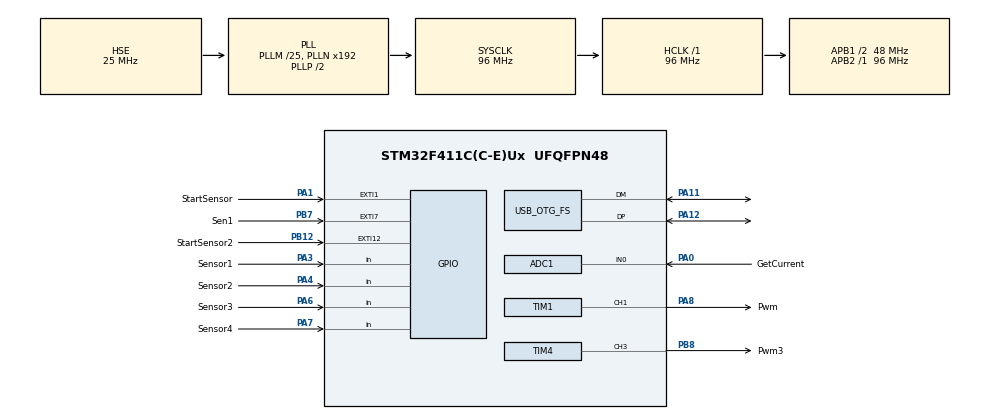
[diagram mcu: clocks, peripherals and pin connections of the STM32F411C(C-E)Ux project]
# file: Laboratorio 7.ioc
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ADC1.Channel-0\#ChannelRegularConversion=ADC_CHANNEL_0
ADC1.NbrOfConversionFlag=1
ADC1.Rank-0\#ChannelRegularConversion=1
ADC1.SamplingTime-0\#ChannelRegularConversion=ADC_SAMPLETIME_3CYCLES
ADC1.master=1
Mcu.Family=STM32F4
Mcu.Name=STM32F411C(C-E)Ux
Mcu.Package=UFQFPN48
NVIC.EXTI15_10_IRQn=true\:0\:0\:false\:false\:true\:true\:true\:true
NVIC.EXTI1_IRQn=true\:0\:0\:false\:false\:true\:true\:true\:true
NVIC.EXTI9_5_IRQn=true\:0\:0\:false\:false\:true\:true\:true\:true
NVIC.OTG_FS_IRQn=true\:0\:0\:false\:false\:true\:false\:true\:true
NVIC.PVD_IRQn=true\:0\:0\:false\:false\:true\:true\:true\:true
NVIC.PriorityGroup=NVIC_PRIORITYGROUP_4
PA0-WKUP.GPIO_Label=GetCurrent
PA0-WKUP.Signal=ADCx_IN0
PA1.GPIO_Label=StartSensor
PA1.GPIO_PuPd=GPIO_PULLDOWN
PA1.Signal=GPXTI1
PA11.Mode=Device_Only
PA11.Signal=USB_OTG_FS_DM
PA12.Mode=Device_Only
PA12.Signal=USB_OTG_FS_DP
PA13.Mode=Serial_Wire
PA13.Signal=SYS_JTMS-SWDIO
PA14.Mode=Serial_Wire
PA14.Signal=SYS_JTCK-SWCLK
PA3.GPIO_Label=Sensor1
PA3.GPIO_PuPd=GPIO_PULLDOWN
PA3.Signal=GPIO_Input
PA4.GPIO_Label=Sensor2
PA4.GPIO_PuPd=GPIO_PULLDOWN
PA4.Signal=GPIO_Input
PA6.GPIO_Label=Sensor3
PA6.GPIO_PuPd=GPIO_PULLDOWN
PA6.Signal=GPIO_Input
PA7.GPIO_Label=Sensor4
PA7.GPIO_PuPd=GPIO_PULLDOWN
PA7.Signal=GPIO_Input
PA8.GPIO_Label=Pwm
PA8.Signal=S_TIM1_CH1
PB12.GPIO_Label=StartSensor2
PB12.GPIO_PuPd=GPIO_PULLDOWN
PB12.Signal=GPXTI12
PB7.GPIO_Label=Sen1
PB7.GPIO_PuPd=GPIO_PULLDOWN
PB7.Signal=GPXTI7
PB8.GPIO_Label=Pwm3
PB8.Signal=S_TIM4_CH3
PH0\ -\ OSC_IN.Mode=HSE-External-Oscillator
PH0\ -\ OSC_IN.Signal=RCC_OSC_IN
PH1\ -\ OSC_OUT.Mode=HSE-External-Oscillator
PH1\ -\ OSC_OUT.Signal=RCC_OSC_OUT
ProjectManager.HeapSize=0x200
ProjectManager.StackSize=0x400
ProjectManager.TargetToolchain=STM32CubeIDE
RCC.48MHZClocksFreq_Value=48000000
RCC.AHBFreq_Value=96000000
RCC.APB1CLKDivider=RCC_HCLK_DIV2
RCC.APB1Freq_Value=48000000
RCC.APB1TimFreq_Value=96000000
RCC.APB2Freq_Value=96000000
RCC.APB2TimFreq_Value=96000000
RCC.CortexFreq_Value=96000000
RCC.HCLKFreq_Value=96000000
RCC.HSE_VALUE=25000000
RCC.HSI_VALUE=16000000
RCC.LSE_VALUE=32768
RCC.PLLM=25
RCC.SYSCLKFreq_VALUE=96000000
RCC.SYSCLKSource=RCC_SYSCLKSOURCE_PLLCLK
RCC.VCOOutputFreq_Value=192000000
SH.ADCx_IN0.0=ADC1_IN0,IN0
SH.S_TIM1_CH1.0=TIM1_CH1,PWM Generation1 CH1
SH.S_TIM4_CH3.0=TIM4_CH3,PWM Generation3 CH3
TIM1.AutoReloadPreload=TIM_AUTORELOAD_PRELOAD_ENABLE
TIM1.Channel-PWM\ Generation1\ CH1=TIM_CHANNEL_1
TIM1.Period=100
TIM1.Pulse-PWM\ Generation1\ CH1=0
TIM2.AutoReloadPreload=TIM_AUTORELOAD_PRELOAD_ENABLE
TIM2.Prescaler=96-1
TIM3.AutoReloadPreload=TIM_AUTORELOAD_PRELOAD_ENABLE
TIM3.Prescaler=9600-1
TIM4.AutoReloadPreload=TIM_AUTORELOAD_PRELOAD_ENABLE
TIM4.Channel-PWM\ Generation3\ CH3=TIM_CHANNEL_3
TIM4.Period=65000
TIM4.Pulse-PWM\ Generation3\ CH3=0
USB_DEVICE.CLASS_NAME_FS=CDC
USB_DEVICE.VirtualMode=Cdc
USB_DEVICE.VirtualModeFS=Cdc_FS
USB_OTG_FS.VirtualMode=Device_Only
VP_TIM1_VS_ClockSourceINT.Mode=Internal
VP_TIM2_VS_ClockSourceINT.Mode=Internal
VP_TIM3_VS_ClockSourceINT.Mode=Internal
VP_TIM4_VS_ClockSourceINT.Mode=Internal
VP_USB_DEVICE_VS_USB_DEVICE_CDC_FS.Mode=CDC_FS
board=custom

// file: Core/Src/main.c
/* USER CODE BEGIN Header */
/**
  ******************************************************************************
  * @file           : main.c
  * @brief          : Main program body
  ******************************************************************************
  * @attention
  *
  * Copyright (c) 2022 STMicroelectronics.
  * All rights reserved.
  *
  * This software is licensed under terms that can be found in the LICENSE file
  * in the root directory of this software component.
  * If no LICENSE file comes with this software, it is provided AS-IS.
  *
  ******************************************************************************
  */
/* USER CODE END Header */
#include "main.h"
#include "usb_device.h"

/* USER CODE BEGIN PD */
#define Start 0x06
#define Stop 0x07
#define Resistor 1 	//Resistencia en Ohms
/* USER CODE END PD */

 ADC_HandleTypeDef hadc1;

TIM_HandleTypeDef htim1;
TIM_HandleTypeDef htim2;
TIM_HandleTypeDef htim3;
TIM_HandleTypeDef htim4;

/* USER CODE BEGIN PV */
uint8_t Connection = 0, Flag, EstAntx, Estatex, Sentidox, EstAnty, Estatey, Sentidoy;
uint32_t PosDeseadax = 0, PosDeseaday = 0, PosActualx = 0, PosActualy = 0;
int Valor,Valor2;
double rpm = 0, st = 0;
/* USER CODE END PV */

void SystemClock_Config(void);
static void MX_GPIO_Init(void);
static void MX_ADC1_Init(void);
static void MX_TIM1_Init(void);
static void MX_TIM2_Init(void);
static void MX_TIM3_Init(void);
static void MX_TIM4_Init(void);
/* USER CODE BEGIN PFP */
void Poscalibrate();
void Send(int Cmd, int Info);
void Iniciar();
void LeerSensores();
/* USER CODE END PFP */

int main(void)
{

  /* MCU Configuration--------------------------------------------------------*/

  /* Reset of all peripherals, Initializes the Flash interface and the Systick. */
  HAL_Init();

  /* Configure the system clock */
  SystemClock_Config();

  /* Initialize all configured peripherals */
  MX_GPIO_Init();
  MX_USB_DEVICE_Init();
  MX_ADC1_Init();
  MX_TIM1_Init();
  MX_TIM2_Init();
  MX_TIM3_Init();
  MX_TIM4_Init();
  /* USER CODE BEGIN 2 */
  HAL_TIM_PWM_Start_IT(&htim1, TIM_CHANNEL_1);
  HAL_TIM_Base_Start(&htim2);
  HAL_TIM_Base_Start(&htim3);
  uint8_t Current = 0,a = 1;
  /* USER CODE END 2 */

  /* Infinite loop */
  /* USER CODE BEGIN WHILE */
  while (1)
  {
	  if(Connection == 1){
		  if(__HAL_TIM_GET_COUNTER(&htim3) >= 1000){ //Se envia cada 100ms
			  switch((a%5)+1){
			  	  case 1:
			  		Send(01,rpm);
			  		break;
			  	  case 2:
			  		Send(03, PosActualx);
			  		break;
			  	  case 3:
			  		Send(04, PosActualy);
			  		break;
			  	  case 4:
			  		Send(05, Sentidox);
			  		break;
			  	  case 5:
			  		Send(06, Sentidoy);
			  		break;
			  }
			  a++;
			  __HAL_TIM_SET_COUNTER(&htim3, 0);
		  }
		  else{
			  Poscalibrate();
			  //LeerSensores();
			  //HAL_ADC_Start(&hadc1);
			  //HAL_ADC_PollForConversion(&hadc1, 10);
			  //Current=HAL_ADC_GetValue(&hadc1);
			  //HAL_ADC_Stop(&hadc1);

		  }
	  }
    /* USER CODE END WHILE */

  }
}

void SystemClock_Config(void)
{
  RCC_OscInitTypeDef RCC_OscInitStruct = {0};
  RCC_ClkInitTypeDef RCC_ClkInitStruct = {0};

  /** Configure the main internal regulator output voltage
  */
  __HAL_RCC_PWR_CLK_ENABLE();
  __HAL_PWR_VOLTAGESCALING_CONFIG(PWR_REGULATOR_VOLTAGE_SCALE1);

  /** Initializes the RCC Oscillators according to the specified parameters
  * in the RCC_OscInitTypeDef structure.
  */
  RCC_OscInitStruct.OscillatorType = RCC_OSCILLATORTYPE_HSE;
  RCC_OscInitStruct.HSEState = RCC_HSE_ON;
  RCC_OscInitStruct.PLL.PLLState = RCC_PLL_ON;
  RCC_OscInitStruct.PLL.PLLSource = RCC_PLLSOURCE_HSE;
  RCC_OscInitStruct.PLL.PLLM = 25;
  RCC_OscInitStruct.PLL.PLLN = 192;
  RCC_OscInitStruct.PLL.PLLP = RCC_PLLP_DIV2;
  RCC_OscInitStruct.PLL.PLLQ = 4;
  if (HAL_RCC_OscConfig(&RCC_OscInitStruct) != HAL_OK)
  {
    Error_Handler();
  }

  /** Initializes the CPU, AHB and APB buses clocks
  */
  RCC_ClkInitStruct.ClockType = RCC_CLOCKTYPE_HCLK|RCC_CLOCKTYPE_SYSCLK
                              |RCC_CLOCKTYPE_PCLK1|RCC_CLOCKTYPE_PCLK2;
  RCC_ClkInitStruct.SYSCLKSource = RCC_SYSCLKSOURCE_PLLCLK;
  RCC_ClkInitStruct.AHBCLKDivider = RCC_SYSCLK_DIV1;
  RCC_ClkInitStruct.APB1CLKDivider = RCC_HCLK_DIV2;
  RCC_ClkInitStruct.APB2CLKDivider = RCC_HCLK_DIV1;

  if (HAL_RCC_ClockConfig(&RCC_ClkInitStruct, FLASH_LATENCY_3) != HAL_OK)
  {
    Error_Handler();
  }
}

static void MX_ADC1_Init(void)
{

  ADC_ChannelConfTypeDef sConfig = {0};

  /** Configure the global features of the ADC (Clock, Resolution, Data Alignment and number of conversion)
  */
  hadc1.Instance = ADC1;
  hadc1.Init.ClockPrescaler = ADC_CLOCK_SYNC_PCLK_DIV4;
  hadc1.Init.Resolution = ADC_RESOLUTION_12B;
  hadc1.Init.ScanConvMode = DISABLE;
  hadc1.Init.ContinuousConvMode = DISABLE;
  hadc1.Init.DiscontinuousConvMode = DISABLE;
  hadc1.Init.ExternalTrigConvEdge = ADC_EXTERNALTRIGCONVEDGE_NONE;
  hadc1.Init.ExternalTrigConv = ADC_SOFTWARE_START;
  hadc1.Init.DataAlign = ADC_DATAALIGN_RIGHT;
  hadc1.Init.NbrOfConversion = 1;
  hadc1.Init.DMAContinuousRequests = DISABLE;
  hadc1.Init.EOCSelection = ADC_EOC_SINGLE_CONV;
  if (HAL_ADC_Init(&hadc1) != HAL_OK)
  {
    Error_Handler();
  }

  /** Configure for the selected ADC regular channel its corresponding rank in the sequencer and its sample time.
  */
  sConfig.Channel = ADC_CHANNEL_0;
  sConfig.Rank = 1;
  sConfig.SamplingTime = ADC_SAMPLETIME_3CYCLES;
  if (HAL_ADC_ConfigChannel(&hadc1, &sConfig) != HAL_OK)
  {
    Error_Handler();
  }

}

static void MX_TIM1_Init(void)
{

  TIM_ClockConfigTypeDef sClockSourceConfig = {0};
  TIM_MasterConfigTypeDef sMasterConfig = {0};
  TIM_OC_InitTypeDef sConfigOC = {0};
  TIM_BreakDeadTimeConfigTypeDef sBreakDeadTimeConfig = {0};

  htim1.Instance = TIM1;
  htim1.Init.Prescaler = 0;
  htim1.Init.CounterMode = TIM_COUNTERMODE_UP;
  htim1.Init.Period = 100;
  htim1.Init.ClockDivision = TIM_CLOCKDIVISION_DIV1;
  htim1.Init.RepetitionCounter = 0;
  htim1.Init.AutoReloadPreload = TIM_AUTORELOAD_PRELOAD_ENABLE;
  if (HAL_TIM_Base_Init(&htim1) != HAL_OK)
  {
    Error_Handler();
  }
  sClockSourceConfig.ClockSource = TIM_CLOCKSOURCE_INTERNAL;
  if (HAL_TIM_ConfigClockSource(&htim1, &sClockSourceConfig) != HAL_OK)
  {
    Error_Handler();
  }
  if (HAL_TIM_PWM_Init(&htim1) != HAL_OK)
  {
    Error_Handler();
  }
  sMasterConfig.MasterOutputTrigger = TIM_TRGO_RESET;
  sMasterConfig.MasterSlaveMode = TIM_MASTERSLAVEMODE_DISABLE;
  if (HAL_TIMEx_MasterConfigSynchronization(&htim1, &sMasterConfig) != HAL_OK)
  {
    Error_Handler();
  }
  sConfigOC.OCMode = TIM_OCMODE_PWM1;
  sConfigOC.Pulse = 0;
  sConfigOC.OCPolarity = TIM_OCPOLARITY_HIGH;
  sConfigOC.OCNPolarity = TIM_OCNPOLARITY_HIGH;
  sConfigOC.OCFastMode = TIM_OCFAST_DISABLE;
  sConfigOC.OCIdleState = TIM_OCIDLESTATE_RESET;
  sConfigOC.OCNIdleState = TIM_OCNIDLESTATE_RESET;
  if (HAL_TIM_PWM_ConfigChannel(&htim1, &sConfigOC, TIM_CHANNEL_1) != HAL_OK)
  {
    Error_Handler();
  }
  sBreakDeadTimeConfig.OffStateRunMode = TIM_OSSR_DISABLE;
  sBreakDeadTimeConfig.OffStateIDLEMode = TIM_OSSI_DISABLE;
  sBreakDeadTimeConfig.LockLevel = TIM_LOCKLEVEL_OFF;
  sBreakDeadTimeConfig.DeadTime = 0;
  sBreakDeadTimeConfig.BreakState = TIM_BREAK_DISABLE;
  sBreakDeadTimeConfig.BreakPolarity = TIM_BREAKPOLARITY_HIGH;
  sBreakDeadTimeConfig.AutomaticOutput = TIM_AUTOMATICOUTPUT_DISABLE;
  if (HAL_TIMEx_ConfigBreakDeadTime(&htim1, &sBreakDeadTimeConfig) != HAL_OK)
  {
    Error_Handler();
  }
  HAL_TIM_MspPostInit(&htim1);

}

static void MX_TIM2_Init(void)
{

  TIM_ClockConfigTypeDef sClockSourceConfig = {0};
  TIM_MasterConfigTypeDef sMasterConfig = {0};

  htim2.Instance = TIM2;
  htim2.Init.Prescaler = 96-1;
  htim2.Init.CounterMode = TIM_COUNTERMODE_UP;
  htim2.Init.Period = 4294967295;
  htim2.Init.ClockDivision = TIM_CLOCKDIVISION_DIV1;
  htim2.Init.AutoReloadPreload = TIM_AUTORELOAD_PRELOAD_ENABLE;
  if (HAL_TIM_Base_Init(&htim2) != HAL_OK)
  {
    Error_Handler();
  }
  sClockSourceConfig.ClockSource = TIM_CLOCKSOURCE_INTERNAL;
  if (HAL_TIM_ConfigClockSource(&htim2, &sClockSourceConfig) != HAL_OK)
  {
    Error_Handler();
  }
  sMasterConfig.MasterOutputTrigger = TIM_TRGO_RESET;
  sMasterConfig.MasterSlaveMode = TIM_MASTERSLAVEMODE_DISABLE;
  if (HAL_TIMEx_MasterConfigSynchronization(&htim2, &sMasterConfig) != HAL_OK)
  {
    Error_Handler();
  }

}

static void MX_TIM3_Init(void)
{

  TIM_ClockConfigTypeDef sClockSourceConfig = {0};
  TIM_MasterConfigTypeDef sMasterConfig = {0};

  htim3.Instance = TIM3;
  htim3.Init.Prescaler = 9600-1;
  htim3.Init.CounterMode = TIM_COUNTERMODE_UP;
  htim3.Init.Period = 65535;
  htim3.Init.ClockDivision = TIM_CLOCKDIVISION_DIV1;
  htim3.Init.AutoReloadPreload = TIM_AUTORELOAD_PRELOAD_ENABLE;
  if (HAL_TIM_Base_Init(&htim3) != HAL_OK)
  {
    Error_Handler();
  }
  sClockSourceConfig.ClockSource = TIM_CLOCKSOURCE_INTERNAL;
  if (HAL_TIM_ConfigClockSource(&htim3, &sClockSourceConfig) != HAL_OK)
  {
    Error_Handler();
  }
  sMasterConfig.MasterOutputTrigger = TIM_TRGO_RESET;
  sMasterConfig.MasterSlaveMode = TIM_MASTERSLAVEMODE_DISABLE;
  if (HAL_TIMEx_MasterConfigSynchronization(&htim3, &sMasterConfig) != HAL_OK)
  {
    Error_Handler();
  }

}

static void MX_TIM4_Init(void)
{

  TIM_ClockConfigTypeDef sClockSourceConfig = {0};
  TIM_MasterConfigTypeDef sMasterConfig = {0};
  TIM_OC_InitTypeDef sConfigOC = {0};

  htim4.Instance = TIM4;
  htim4.Init.Prescaler = 0;
  htim4.Init.CounterMode = TIM_COUNTERMODE_UP;
  htim4.Init.Period = 65000;
  htim4.Init.ClockDivision = TIM_CLOCKDIVISION_DIV1;
  htim4.Init.AutoReloadPreload = TIM_AUTORELOAD_PRELOAD_ENABLE;
  if (HAL_TIM_Base_Init(&htim4) != HAL_OK)
  {
    Error_Handler();
  }
  sClockSourceConfig.ClockSource = TIM_CLOCKSOURCE_INTERNAL;
  if (HAL_TIM_ConfigClockSource(&htim4, &sClockSourceConfig) != HAL_OK)
  {
    Error_Handler();
  }
  if (HAL_TIM_PWM_Init(&htim4) != HAL_OK)
  {
    Error_Handler();
  }
  sMasterConfig.MasterOutputTrigger = TIM_TRGO_RESET;
  sMasterConfig.MasterSlaveMode = TIM_MASTERSLAVEMODE_DISABLE;
  if (HAL_TIMEx_MasterConfigSynchronization(&htim4, &sMasterConfig) != HAL_OK)
  {
    Error_Handler();
  }
  sConfigOC.OCMode = TIM_OCMODE_PWM1;
  sConfigOC.Pulse = 0;
  sConfigOC.OCPolarity = TIM_OCPOLARITY_HIGH;
  sConfigOC.OCFastMode = TIM_OCFAST_DISABLE;
  if (HAL_TIM_PWM_ConfigChannel(&htim4, &sConfigOC, TIM_CHANNEL_3) != HAL_OK)
  {
    Error_Handler();
  }
  HAL_TIM_MspPostInit(&htim4);

}

static void MX_GPIO_Init(void)
{
  GPIO_InitTypeDef GPIO_InitStruct = {0};

  /* GPIO Ports Clock Enable */
  __HAL_RCC_GPIOH_CLK_ENABLE();
  __HAL_RCC_GPIOA_CLK_ENABLE();
  __HAL_RCC_GPIOB_CLK_ENABLE();

  /*Configure GPIO pin : StartSensor_Pin */
  GPIO_InitStruct.Pin = StartSensor_Pin;
  GPIO_InitStruct.Mode = GPIO_MODE_IT_RISING;
  GPIO_InitStruct.Pull = GPIO_PULLDOWN;
  HAL_GPIO_Init(StartSensor_GPIO_Port, &GPIO_InitStruct);

  /*Configure GPIO pins : Sensor1_Pin Sensor2_Pin Sensor3_Pin Sensor4_Pin */
  GPIO_InitStruct.Pin = Sensor1_Pin|Sensor2_Pin|Sensor3_Pin|Sensor4_Pin;
  GPIO_InitStruct.Mode = GPIO_MODE_INPUT;
  GPIO_InitStruct.Pull = GPIO_PULLDOWN;
  HAL_GPIO_Init(GPIOA, &GPIO_InitStruct);

  /*Configure GPIO pins : StartSensor2_Pin Sen1_Pin */
  GPIO_InitStruct.Pin = StartSensor2_Pin|Sen1_Pin;
  GPIO_InitStruct.Mode = GPIO_MODE_IT_RISING;
  GPIO_InitStruct.Pull = GPIO_PULLDOWN;
  HAL_GPIO_Init(GPIOB, &GPIO_InitStruct);

  /* EXTI interrupt init*/
  HAL_NVIC_SetPriority(EXTI1_IRQn, 0, 0);
  HAL_NVIC_EnableIRQ(EXTI1_IRQn);

  HAL_NVIC_SetPriority(EXTI9_5_IRQn, 0, 0);
  HAL_NVIC_EnableIRQ(EXTI9_5_IRQn);

  HAL_NVIC_SetPriority(EXTI15_10_IRQn, 0, 0);
  HAL_NVIC_EnableIRQ(EXTI15_10_IRQn);

}

/* USER CODE BEGIN 4 */
/*void LeerSensores(){
	switch(HAL_GPIO_ReadPin(Sensor1_GPIO_Port, Sensor1_Pin)){		//Lee sensor x
		case 0:
			if(HAL_GPIO_ReadPin(Sensor2_GPIO_Port, Sensor2_Pin) == 0){
				Estatex = 0;
			}
			else{
				Estatex = 1;
			}
			break;
		case 1:
  			if(HAL_GPIO_ReadPin(Sensor2_GPIO_Port, Sensor2_Pin) == 0){
  				Estatex = 2;
  			}
  			else{
  				Estatex = 3;
  			}
  			break;
	}

	switch(HAL_GPIO_ReadPin(Sensor3_GPIO_Port, Sensor3_Pin)){		//Lee sensor y
		case 0:
			if(HAL_GPIO_ReadPin(Sensor4_GPIO_Port, Sensor4_Pin) == 0){
					Estatey = 0;
			}
			else{
				Estatey = 1;
			}
			break;
		case 1:
	  		if(HAL_GPIO_ReadPin(Sensor4_GPIO_Port, Sensor4_Pin) == 0){
	  			Estatey = 2;
	  		}
	  		else{
	  			Estatey = 3;
	  		}
	  		break;
	}
  //Orientacion =1 Horario =2 Antihorario Estado 0 (0,0) Estado 1(0,1) Estado 2(1,0) Estado 3(1,1)
  switch(EstAntx){
    case 0:
      if(Estatex == 1){    //Se activa solo el sensor 2
        PosActualx--;
      }
      else if(Estatex == 2){ //Se activa solo el sensor 1
        PosActualx++;
      }
    break;
    case 1:     //Se habia activado sensor 2
      if(Estatex == 0){    //Se activa el sensor 1 y 2
        PosActualx++;
      }
      else if(Estatex == 3){   //Se activan los dos sensores
        PosActualx--;
      }
    break;
    case 2:   //Se habia activado sensor 1
      if(Estatex == 0){
        PosActualx--;
      }
      else if(Estatex == 3){
        PosActualx++;
      }
    case 3:   //Se habia activado el sensor 1 y 2
      if(Estatex == 1){
        PosActualx++;
      }
      else if(Estatex == 2){
        PosActualx--;
      }
    break;
  }
  switch(EstAnty){
      case 0:
        if(Estatey == 1){    //Se activa solo el sensor 2
        	PosActualy--;
        }
        else if(Estatey == 2){ //Se activa solo el sensor 1
        	PosActualy++;
        }
      break;
      case 1:     //Se habia activado sensor 2
        if(Estatey == 0){    //Se activa el sensor 1 y 2
        	PosActualy++;
        }
        else if(Estatey == 3){   //Se activan los dos sensores
        	PosActualy--;
        }
      break;
      case 2:   //Se habia activado sensor 1
        if(Estatey == 0){
        	PosActualy--;
        }
        else if(Estatey == 3){
        	PosActualy++;
        }
      case 3:   //Se habia activado el sensor 1 y 2
        if(Estatey == 1){
        	PosActualy++;
        }
        else if(Estatey == 2){
        	PosActualy--;
        }
      break;
    }
  EstAntx = Estatex;
  EstAnty = Estatey;
}*/
void Poscalibrate(){

	if(PosActualx < PosDeseadax){
		TIM1->CCR1 = Valor;
		Sentidox = 1;	//Horario
	}
	else if(PosActualx == PosDeseadax){
		TIM1->CCR1 = Valor;
		Sentidox = 0;	//Detenido
	}
	else{
		TIM1->CCR1 = Valor;
		Sentidox = 2;	//Antihorario
	}
	/*
	if(PosActualy < PosDeseaday){
		TIM4->CCR3 = 99 * 650;
		Sentidoy = 1;
	}
	else if(PosActualy == PosDeseaday){
		TIM4->CCR3 = Valor2 * 650;
		TIM1->CCR2 = Valor2 * 650;
		Sentidoy = 0;
	}
	else{
		TIM4->CCR3 = 1;
		Sentidoy = 2;
	}*/
}
void Iniciar(){
	PosActualx = 12000;
	PosActualy = 12000;
	PosDeseadax = 0;
	PosDeseaday = 0;
}
void Send(int Cmd, int Info){
	int Size=0x00,Parity=0,Contador=0;
	uint8_t *Data;

	if(Info<256){
		Size=0x01;
		Data=(uint8_t*)malloc(6*sizeof(int));
		Data[3]=Info;
	}
	else if(Info < 65536){
		Size=0x02;
		Data=(uint8_t*)malloc(7*sizeof(int));
		Data[3]=0x00FF & (Info >> 8);
		Data[4]=0x00FF & Info;
	}
	else{
		Size=0x03;
		Data=(uint8_t*)malloc(8*sizeof(int));
		Data[3] = 0x00FF & (Info >> 16);
		Data[4] = 0x00FF & (Info >> 8);
		Data[5] = 0x00FF & Info;
	}
	Data[0]=Start;
	Data[1]=Size;
	Data[2]=Cmd;
	for(Contador=0;Contador<Size+3;Contador++){
		Parity^=Data[Contador];
	}
	Data[Size+3]=Parity;
	Data[Size+4]=Stop;

	Contador=sizeof(Data);
	CDC_Transmit_FS(Data,Size+5);
	free(Data);
}

void CDC_ReceiveCallBack(uint8_t* Buf, uint32_t Len){
	int Cmd,Aux,Parity=0,Size;
	double Temp=0;
	for(Aux=0;Aux<=Len;Aux++){
		Temp=Buf[Aux];
	}

	if(Buf[0]==Start && Buf[Len-1]==Stop){ //Protocolo
		Size=Buf[1];
		Cmd=Buf[2];
		if(Size==1){
			Temp=Buf[3];
		}
		else if(Size==2){
			Temp=(Buf[3]<< 8) | Buf[4];
		}
		else if(Size==3){
			Temp=(Buf[3]<< 16) | (Buf[4]<<8) | Buf[5];
		}
		for(Aux=0;Aux<Size+3;Aux++){
			Parity^=Buf[Aux];
		}
		Aux=Buf[Size+3];
		if(Buf[Size+3]==Parity){
			if(Cmd==1){ //Le pide a la STM enviar Info
				Connection = 1;
				Iniciar();
			}
			else if(Cmd == 0){ //Le pide que deje de enviar Info
				Connection = 0;
			}
			else if(Cmd == 2){ //PosDeseada en pulsos X
				PosDeseadax = Temp;
			}
			else if(Cmd == 3){
				PosDeseaday = Temp;
			}
			else if(Cmd == 4){ //Resetea el estado
				Iniciar();
			}
		}
	}
}

void HAL_GPIO_EXTI_Callback(uint16_t GPIO_Pin){
		if(GPIO_Pin==Sensor1_Pin){
			if(Flag==0){
				Flag=1;
				__HAL_TIM_SET_COUNTER(&htim2, 0);
			}
			else{
				st=__HAL_TIM_GET_COUNTER(&htim2);
				if(st==0){
					rpm=0;
				}
				else{
					rpm=1000000/st;//
				}
				Flag=0;
			}
		}
		else if(GPIO_Pin == StartSensor_Pin){
			PosActualx = 0;
		}
		else if(GPIO_Pin == StartSensor2_Pin){
			PosActualy = 0;
		}
}

/* USER CODE END 4 */

void Error_Handler(void)
{
  __disable_irq();
  while (1)
  {
  }
}
